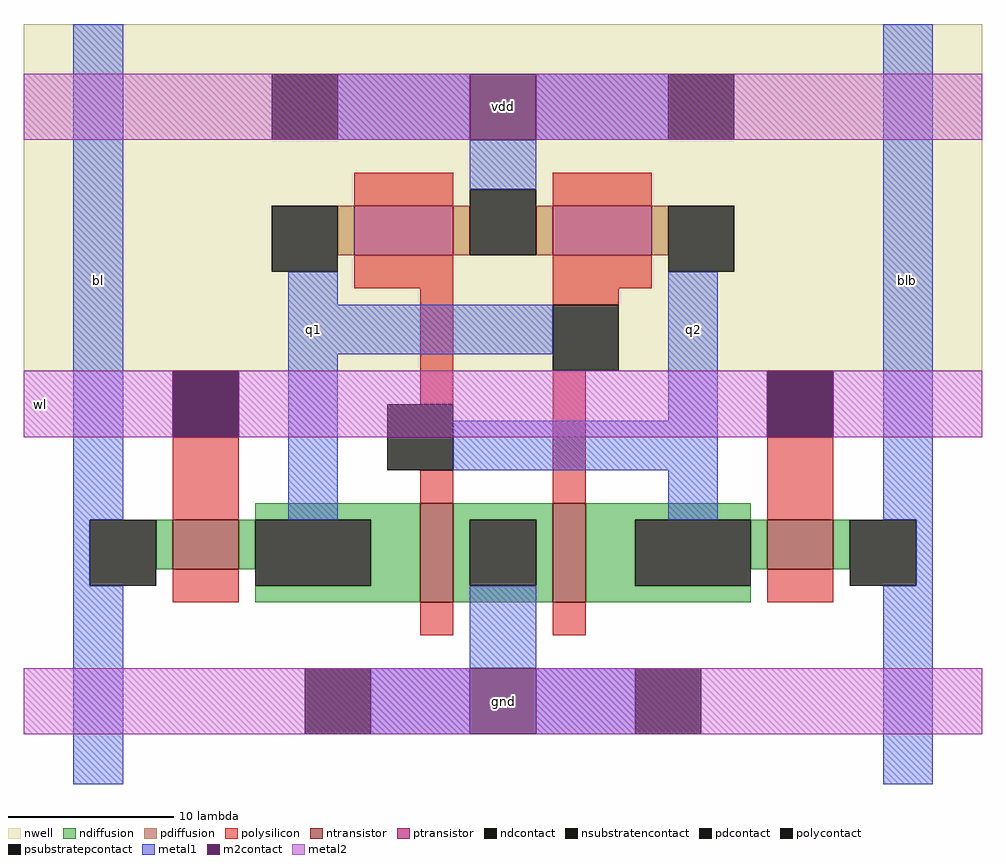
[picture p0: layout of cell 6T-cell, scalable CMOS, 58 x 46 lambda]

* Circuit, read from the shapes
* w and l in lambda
.subckt 6T-cell bl blb gnd q1 q2 vdd wl
M1 q1 wl bl gnd nfet w=3 l=4
M2 gnd q2 q1 gnd nfet w=6 l=2
M3 q2 q1 gnd gnd nfet w=6 l=2
M4 blb wl q2 gnd nfet w=3 l=4
M5 vdd q2 q1 vdd pfet w=3 l=6
M6 q2 q1 vdd vdd pfet w=3 l=6
.ends

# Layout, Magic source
magic
tech scmos
<< nwell >>
rect 47 17 105 38
<< ntransistor >>
rect 56 5 60 8
rect 71 3 73 9
rect 79 3 81 9
rect 92 5 96 8
<< ptransistor >>
rect 67 24 73 27
rect 79 24 85 27
<< ndiffusion >>
rect 61 8 71 9
rect 55 5 56 8
rect 60 5 61 8
rect 68 4 71 8
rect 61 3 71 4
rect 73 8 79 9
rect 73 4 74 8
rect 78 4 79 8
rect 73 3 79 4
rect 81 8 91 9
rect 81 4 84 8
rect 91 5 92 8
rect 96 5 97 8
rect 81 3 91 4
<< pdiffusion >>
rect 66 24 67 27
rect 73 24 74 27
rect 78 24 79 27
rect 85 24 86 27
<< ndcontact >>
rect 51 4 55 8
rect 61 4 68 8
rect 74 4 78 8
rect 84 4 91 8
rect 97 4 101 8
<< pdcontact >>
rect 62 23 66 27
rect 74 24 78 28
rect 86 23 90 27
<< psubstratepcontact >>
rect 64 -5 68 -1
rect 84 -5 88 -1
<< nsubstratencontact >>
rect 62 31 66 35
rect 86 31 90 35
<< polysilicon >>
rect 67 27 73 29
rect 79 27 85 29
rect 67 22 73 24
rect 71 15 73 22
rect 56 8 60 13
rect 71 9 73 11
rect 79 22 85 24
rect 79 21 83 22
rect 79 9 81 17
rect 56 3 60 5
rect 92 8 96 13
rect 92 3 96 5
rect 71 1 73 3
rect 79 1 81 3
<< polycontact >>
rect 56 13 60 17
rect 69 11 73 15
rect 79 17 83 21
rect 92 13 96 17
<< metal1 >>
rect 50 8 53 38
rect 66 31 74 35
rect 78 31 86 35
rect 74 28 78 31
rect 63 21 66 23
rect 63 18 79 21
rect 63 8 66 18
rect 86 14 89 23
rect 73 11 89 14
rect 86 8 89 11
rect 99 8 102 38
rect 50 4 51 8
rect 101 4 102 8
rect 50 -8 53 4
rect 74 -1 78 4
rect 68 -5 74 -1
rect 78 -5 84 -1
rect 99 -8 102 4
<< m2contact >>
rect 74 31 78 35
rect 56 13 60 17
rect 92 13 96 17
rect 74 -5 78 -1
<< metal2 >>
rect 47 31 74 35
rect 78 31 105 35
rect 47 13 56 17
rect 60 13 92 17
rect 96 13 105 17
rect 47 -5 74 -1
rect 78 -5 105 -1
<< labels >>
rlabel m2contact 76 33 76 33 5 vdd
rlabel m2contact 76 -3 76 -3 1 gnd
rlabel metal1 51 22 52 23 3 bl
rlabel metal1 100 22 101 23 7 blb
rlabel metal2 48 15 48 15 3 wl
rlabel metal1 64 19 65 20 1 q1
rlabel metal1 87 19 88 20 1 q2
<< end >>
